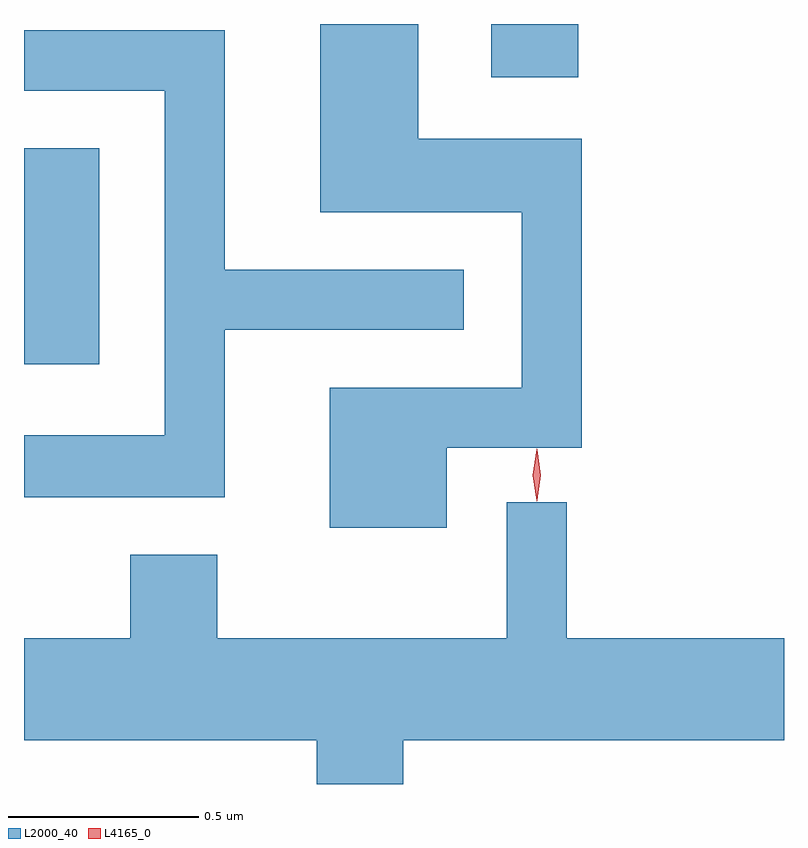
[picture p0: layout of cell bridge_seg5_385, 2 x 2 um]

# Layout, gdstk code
import gdstk
lib = gdstk.Library(unit=1e-6, precision=1e-09)
def R(c, l, rs):  # rectangles x0, y0, x1, y1
    for r in rs: c.add(gdstk.rectangle(r[:2], r[2:], *l))
def P(c, l, *ps):  # polygons
    for p in ps: c.add(gdstk.Polygon(p, *l))
L2000_40 = (2000, 40)
L4165_0 = (4165, 0)

bridge_seg5_385 = lib.new_cell('bridge_seg5_385')
R(bridge_seg5_385, L2000_40, [(811.931,1424.486,812.129,1425.054), (813.161,1425.241,813.389,1425.381)])
P(bridge_seg5_385, L2000_40, [(813.044,1424.266),(813.399,1424.266),(813.399,1425.079),(812.969,1425.079),(812.969,1425.381),(812.711,1425.381),(812.711,1424.886),(813.241,1424.886),(813.241,1424.424),(812.736,1424.424),(812.736,1424.056),(813.044,1424.056)],
  [(812.459,1424.576),(813.088,1424.576),(813.088,1424.734),(812.459,1424.734),(812.459,1425.364),(811.931,1425.364),(811.931,1425.206),(812.301,1425.206),(812.301,1424.299),(811.931,1424.299),(811.931,1424.136),(812.459,1424.136)],
  [(812.929,1423.496),(813.931,1423.496),(813.931,1423.764),(813.359,1423.764),(813.359,1424.123),(813.201,1424.123),(813.201,1423.764),(812.439,1423.764),(812.439,1423.984),(812.211,1423.984),(812.211,1423.764),(811.931,1423.764),(811.931,1423.496),(812.701,1423.496),(812.701,1423.381),(812.929,1423.381)])
P(bridge_seg5_385, L4165_0, [(813.28,1424.125),(813.28,1424.126),(813.27,1424.194),(813.28,1424.262),(813.28,1424.263),(813.281,1424.262),(813.29,1424.194),(813.281,1424.126)],
  [(813.281,1424.128),(813.28,1424.129),(813.271,1424.194),(813.28,1424.26),(813.281,1424.26),(813.281,1424.26),(813.291,1424.194),(813.281,1424.129)])

lib.write_gds('bridge_seg5_385.gds')
